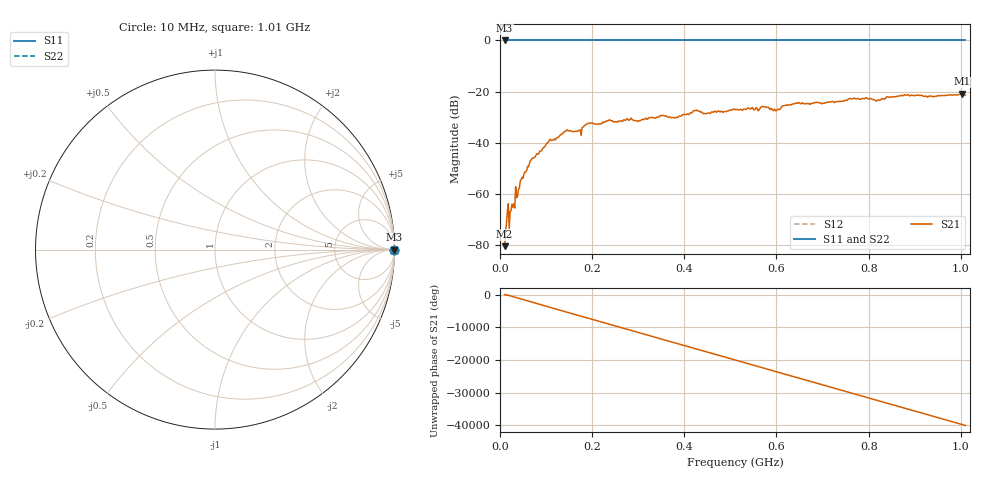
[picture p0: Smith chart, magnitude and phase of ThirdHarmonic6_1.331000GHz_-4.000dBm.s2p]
! 8/16/2025 2:52:22 PM
! C:\ANRITSUVNA\TEMP\TEMP.S2P
! CHANNEL.1
! TR.MEASUREMENT
! RAW.DATA
! RF.CORRECTION.OFF
! AVERAGING.OFF
! IF.BANDWIDTH: 5KHZ
! SWEEPTYPE:  FREQ.SWEEP(Linear)
! Reference Plane Port Info
! PORT:  PORT1  PORT2
! DISTANCE:  0  m  0  m
! TIME:  0  s  0  s
! PHASE.OFFSET:  0  deg.  0  deg.
! LOSS:  0  dB  0  dB
! REF.LOSS:  0  dB  0  dB
! REF.FREQ:  0  Hz  0  Hz
! Power Info
! POWER:  -20  dBm  -20  dBm
! EFF.POWER:  -20  dBm  -20  dBm
! SOURCE.ATTEN:  0  dB  0  dB
! TEST.ATTEN:  0  dB  0  dB
# GHZ S RI R 50.0
! FREQ.GHZ  S11RE  S11IM  S21RE  S21IM  S12RE  S12IM  S22RE  S22IM
!; PortSelection: Port_12
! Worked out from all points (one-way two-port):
!   501 points, 10 MHz to 1.01 GHz, reference 50 ohm
!   highest |S21| = -20.87 dB at 1.002 GHz (marker M1); lowest = -80.5 dB at 10 MHz (marker M2)
!   lowest |S11| = 0.0 dB at 10 MHz (marker M3)
!   |S11| at or under -10 dB: nowhere
!   |S22| runs from 0.0 to 0.0 dB; largest |S21 - S12| = 1.1
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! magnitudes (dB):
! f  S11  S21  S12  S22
! 10 MHz  0.0  -80.5  0.0  0.0
! 14 MHz  0.0  -72.0  0.0  0.0
! 20 MHz  0.0  -73.5  0.0  0.0
! 24 MHz  0.0  -66.5  0.0  0.0
! 48 MHz  0.0  -53.5  0.0  0.0
! 68 MHz  0.0  -46.7  0.0  0.0
! 106 MHz  0.0  -39.5  0.0  0.0
! 142 MHz  0.0  -35.6  0.0  0.0
! 178 MHz  0.0  -34.1  0.0  0.0
! 196 MHz  0.0  -32.3  0.0  0.0
! 344 MHz  0.0  -30.0  0.0  0.0
! 382 MHz  0.0  -30.2  0.0  0.0
! 424 MHz  0.0  -27.5  0.0  0.0
! 446 MHz  0.0  -28.6  0.0  0.0
! 510 MHz  0.0  -27.0  0.0  0.0
! 572 MHz  0.0  -26.0  0.0  0.0
! 596 MHz  0.0  -26.8  0.0  0.0
! 644 MHz  0.0  -24.5  0.0  0.0
! 678 MHz  0.0  -24.6  0.0  0.0
! 844 MHz  0.0  -22.2  0.0  0.0
! 1.002 GHz  0.0  -20.9  0.0  0.0
! 1.01 GHz  0.0  -21.4  0.0  0.0
